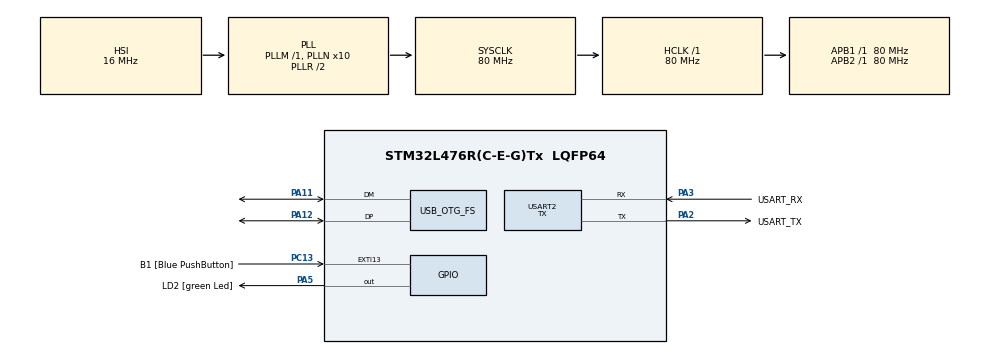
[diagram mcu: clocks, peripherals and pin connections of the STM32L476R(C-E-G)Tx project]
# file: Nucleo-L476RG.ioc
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Mcu.Family=STM32L4
Mcu.Name=STM32L476R(C-E-G)Tx
Mcu.Package=LQFP64
NVIC.OTG_FS_IRQn=true\:0\:0\:false\:false\:true\:false
NVIC.PriorityGroup=NVIC_PRIORITYGROUP_4
PA11.Mode=Device_Only
PA11.Signal=USB_OTG_FS_DM
PA12.Mode=Device_Only
PA12.Signal=USB_OTG_FS_DP
PA13\ (JTMS-SWDIO).GPIO_Label=TMS
PA13\ (JTMS-SWDIO).Mode=Trace_Asynchronous_SW
PA13\ (JTMS-SWDIO).Signal=SYS_JTMS-SWDIO
PA14\ (JTCK-SWCLK).GPIO_Label=TCK
PA14\ (JTCK-SWCLK).Mode=Trace_Asynchronous_SW
PA14\ (JTCK-SWCLK).Signal=SYS_JTCK-SWCLK
PA2.GPIO_Label=USART_TX
PA2.GPIO_Mode=GPIO_MODE_AF_PP
PA2.GPIO_PuPd=GPIO_NOPULL
PA2.GPIO_Speed=GPIO_SPEED_FREQ_VERY_HIGH
PA2.Mode=Asynchronous
PA2.Signal=USART2_TX
PA3.GPIO_Label=USART_RX
PA3.GPIO_Mode=GPIO_MODE_AF_PP
PA3.GPIO_PuPd=GPIO_NOPULL
PA3.GPIO_Speed=GPIO_SPEED_FREQ_VERY_HIGH
PA3.Mode=Asynchronous
PA3.Signal=USART2_RX
PA5.GPIO_Label=LD2 [green Led]
PA5.GPIO_ModeDefaultOutputPP=GPIO_MODE_OUTPUT_PP
PA5.GPIO_PuPd=GPIO_NOPULL
PA5.GPIO_Speed=GPIO_SPEED_FREQ_LOW
PA5.Signal=GPIO_Output
PB3\ (JTDO-TRACESWO).GPIO_Label=SWO
PB3\ (JTDO-TRACESWO).Mode=Trace_Asynchronous_SW
PB3\ (JTDO-TRACESWO).Signal=SYS_JTDO-SWO
PC13.GPIO_Label=B1 [Blue PushButton]
PC13.GPIO_ModeDefaultEXTI=GPIO_MODE_IT_FALLING
PC13.GPIO_PuPd=GPIO_NOPULL
PC13.Signal=GPXTI13
PC14-OSC32_IN\ (PC14).Mode=LSE-External-Oscillator
PC14-OSC32_IN\ (PC14).Signal=RCC_OSC32_IN
PC15-OSC32_OUT\ (PC15).Mode=LSE-External-Oscillator
PC15-OSC32_OUT\ (PC15).Signal=RCC_OSC32_OUT
PH0-OSC_IN\ (PH0).Signal=RCC_OSC_IN
PH1-OSC_OUT\ (PH1).Signal=RCC_OSC_OUT
ProjectManager.HeapSize=0x200
ProjectManager.StackSize=0xf000
ProjectManager.TargetToolchain=TrueSTUDIO
RCC.ADCFreq_Value=64000000
RCC.AHBFreq_Value=80000000
RCC.APB1Freq_Value=80000000
RCC.APB1TimFreq_Value=80000000
RCC.APB2Freq_Value=80000000
RCC.APB2TimFreq_Value=80000000
RCC.CK48CLockSelection=RCC_USBCLKSOURCE_MSI
RCC.CortexFreq_Value=80000000
RCC.HCLKFreq_Value=80000000
RCC.HSE_VALUE=8000000
RCC.HSI_VALUE=16000000
RCC.MSIClockRange=RCC_MSIRANGE_11
RCC.MSI_VALUE=48000000
RCC.PLLN=10
RCC.PLLSourceVirtual=RCC_PLLSOURCE_HSI
RCC.PREFETCH_ENABLE=1
RCC.RTCClockSelection=RCC_RTCCLKSOURCE_LSE
RCC.SYSCLKFreq_VALUE=80000000
RCC.SYSCLKSource=RCC_SYSCLKSOURCE_PLLCLK
RCC.USBFreq_Value=48000000
RCC.VCOOutputFreq_Value=160000000
RTC.Format=RTC_FORMAT_BIN
USART2.Mode=MODE_TX
USART2.VirtualMode-Asynchronous=VM_ASYNC
USART2.WordLength=WORDLENGTH_8B
USB_DEVICE.CLASS_NAME_FS=CDC
USB_DEVICE.VirtualMode=Cdc
USB_DEVICE.VirtualModeFS=Cdc_FS
USB_OTG_FS.VirtualMode=Device_Only
VP_RNG_VS_RNG.Mode=RNG_Activate
VP_RTC_VS_RTC_Activate.Mode=RTC_Enabled
VP_RTC_VS_RTC_Calendar.Mode=RTC_Calendar
VP_USB_DEVICE_VS_USB_DEVICE_CDC_FS.Mode=CDC_FS
board=NUCLEO-L476RG

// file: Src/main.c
/**
  ******************************************************************************
  * @file           : main.c
  * @brief          : Main program body
  ******************************************************************************
  * This notice applies to any and all portions of this file
  * that are not between comment pairs USER CODE BEGIN and
  * USER CODE END. Other portions of this file, whether
  * inserted by the user or by software development tools
  * are owned by their respective copyright owners.
  *
  * Copyright (c) 2018 STMicroelectronics International N.V.
  * All rights reserved.
  *
  * Redistribution and use in source and binary forms, with or without
  * modification, are permitted, provided that the following conditions are met:
  *
  * 1. Redistribution of source code must retain the above copyright notice,
  *    this list of conditions and the following disclaimer.
  * 2. Redistributions in binary form must reproduce the above copyright notice,
  *    this list of conditions and the following disclaimer in the documentation
  *    and/or other materials provided with the distribution.
  * 3. Neither the name of STMicroelectronics nor the names of other
  *    contributors to this software may be used to endorse or promote products
  *    derived from this software without specific written permission.
  * 4. This software, including modifications and/or derivative works of this
  *    software, must execute solely and exclusively on microcontroller or
  *    microprocessor devices manufactured by or for STMicroelectronics.
  * 5. Redistribution and use of this software other than as permitted under
  *    this license is void and will automatically terminate your rights under
  *    this license.
  *
  * THIS SOFTWARE IS PROVIDED BY STMICROELECTRONICS AND CONTRIBUTORS "AS IS"
  * AND ANY EXPRESS, IMPLIED OR STATUTORY WARRANTIES, INCLUDING, BUT NOT
  * LIMITED TO, THE IMPLIED WARRANTIES OF MERCHANTABILITY, FITNESS FOR A
  * PARTICULAR PURPOSE AND NON-INFRINGEMENT OF THIRD PARTY INTELLECTUAL PROPERTY
  * RIGHTS ARE DISCLAIMED TO THE FULLEST EXTENT PERMITTED BY LAW. IN NO EVENT
  * SHALL STMICROELECTRONICS OR CONTRIBUTORS BE LIABLE FOR ANY DIRECT, INDIRECT,
  * INCIDENTAL, SPECIAL, EXEMPLARY, OR CONSEQUENTIAL DAMAGES (INCLUDING, BUT NOT
  * LIMITED TO, PROCUREMENT OF SUBSTITUTE GOODS OR SERVICES; LOSS OF USE, DATA,
  * OR PROFITS; OR BUSINESS INTERRUPTION) HOWEVER CAUSED AND ON ANY THEORY OF
  * LIABILITY, WHETHER IN CONTRACT, STRICT LIABILITY, OR TORT (INCLUDING
  * NEGLIGENCE OR OTHERWISE) ARISING IN ANY WAY OUT OF THE USE OF THIS SOFTWARE,
  * EVEN IF ADVISED OF THE POSSIBILITY OF SUCH DAMAGE.
  *
  ******************************************************************************
  */
#include "main.h"
#include "stm32l4xx_hal.h"
#include "usb_device.h"

/* USER CODE BEGIN Includes */
#include <stdint.h>
#include <stdbool.h>
#include <time.h>
#include "TpmDevice.h"
#include "StmUtil.h"

/* USER CODE END Includes */

RNG_HandleTypeDef hrng;

RTC_HandleTypeDef hrtc;

UART_HandleTypeDef huart2;

/* USER CODE BEGIN PV */
/* Private variables ---------------------------------------------------------*/

/* USER CODE END PV */

void SystemClock_Config(void);
static void MX_GPIO_Init(void);
static void MX_RNG_Init(void);
static void MX_RTC_Init(void);
static void MX_USART2_UART_Init(void);

/* USER CODE BEGIN PFP */
/* Private function prototypes -----------------------------------------------*/

/* USER CODE END PFP */

int main(void)
{

  /* MCU Configuration----------------------------------------------------------*/

  /* Reset of all peripherals, Initializes the Flash interface and the Systick. */
  HAL_Init();

  /* Configure the system clock */
  SystemClock_Config();

  /* Initialize all configured peripherals */
  MX_GPIO_Init();
  MX_RNG_Init();
  MX_RTC_Init();
  MX_USART2_UART_Init();
  MX_USB_DEVICE_Init();
  /* USER CODE BEGIN 2 */
  InitializeITM();
  fprintf(stderr, "\r\n\r\n=========================\r\n"
                          "= Nucleo-L476RG TPM 2.0 =\r\n"
                          "=========================\r\n");
  printf("Nucleo-L476RG TPM 2.0\r\n");

  if(!TpmInitializeDevice())
  {
      _Error_Handler(__FILE__, __LINE__);
  }

  /* USER CODE END 2 */

  /* Infinite loop */
  while (1)
  {

  /* USER CODE BEGIN 3 */
      if(!TpmOperationsLoop())
      {
          _Error_Handler(__FILE__, __LINE__);
      }
  }
  /* USER CODE END 3 */

}

void SystemClock_Config(void)
{

  RCC_OscInitTypeDef RCC_OscInitStruct;
  RCC_ClkInitTypeDef RCC_ClkInitStruct;
  RCC_PeriphCLKInitTypeDef PeriphClkInit;

    /**Configure LSE Drive Capability
    */
  HAL_PWR_EnableBkUpAccess();

  __HAL_RCC_LSEDRIVE_CONFIG(RCC_LSEDRIVE_LOW);

    /**Initializes the CPU, AHB and APB busses clocks
    */
  RCC_OscInitStruct.OscillatorType = RCC_OSCILLATORTYPE_HSI|RCC_OSCILLATORTYPE_LSE
                              |RCC_OSCILLATORTYPE_MSI;
  RCC_OscInitStruct.LSEState = RCC_LSE_ON;
  RCC_OscInitStruct.HSIState = RCC_HSI_ON;
  RCC_OscInitStruct.HSICalibrationValue = 16;
  RCC_OscInitStruct.MSIState = RCC_MSI_ON;
  RCC_OscInitStruct.MSICalibrationValue = 0;
  RCC_OscInitStruct.MSIClockRange = RCC_MSIRANGE_11;
  RCC_OscInitStruct.PLL.PLLState = RCC_PLL_ON;
  RCC_OscInitStruct.PLL.PLLSource = RCC_PLLSOURCE_HSI;
  RCC_OscInitStruct.PLL.PLLM = 1;  // <-- This one gets dropped by V1.11.0 add me manually back in when CubeMX ran
  RCC_OscInitStruct.PLL.PLLN = 10;
  RCC_OscInitStruct.PLL.PLLP = RCC_PLLP_DIV7;
  RCC_OscInitStruct.PLL.PLLQ = RCC_PLLQ_DIV2;
  RCC_OscInitStruct.PLL.PLLR = RCC_PLLR_DIV2;
  if (HAL_RCC_OscConfig(&RCC_OscInitStruct) != HAL_OK)
  {
    _Error_Handler(__FILE__, __LINE__);
  }

    /**Initializes the CPU, AHB and APB busses clocks
    */
  RCC_ClkInitStruct.ClockType = RCC_CLOCKTYPE_HCLK|RCC_CLOCKTYPE_SYSCLK
                              |RCC_CLOCKTYPE_PCLK1|RCC_CLOCKTYPE_PCLK2;
  RCC_ClkInitStruct.SYSCLKSource = RCC_SYSCLKSOURCE_PLLCLK;
  RCC_ClkInitStruct.AHBCLKDivider = RCC_SYSCLK_DIV1;
  RCC_ClkInitStruct.APB1CLKDivider = RCC_HCLK_DIV1;
  RCC_ClkInitStruct.APB2CLKDivider = RCC_HCLK_DIV1;

  if (HAL_RCC_ClockConfig(&RCC_ClkInitStruct, FLASH_LATENCY_4) != HAL_OK)
  {
    _Error_Handler(__FILE__, __LINE__);
  }

  PeriphClkInit.PeriphClockSelection = RCC_PERIPHCLK_RTC|RCC_PERIPHCLK_USART2
                              |RCC_PERIPHCLK_USB|RCC_PERIPHCLK_RNG;
  PeriphClkInit.Usart2ClockSelection = RCC_USART2CLKSOURCE_PCLK1;
  PeriphClkInit.RTCClockSelection = RCC_RTCCLKSOURCE_LSE;
  PeriphClkInit.UsbClockSelection = RCC_USBCLKSOURCE_MSI;
  PeriphClkInit.RngClockSelection = RCC_RNGCLKSOURCE_MSI;
  if (HAL_RCCEx_PeriphCLKConfig(&PeriphClkInit) != HAL_OK)
  {
    _Error_Handler(__FILE__, __LINE__);
  }

    /**Configure the main internal regulator output voltage
    */
  if (HAL_PWREx_ControlVoltageScaling(PWR_REGULATOR_VOLTAGE_SCALE1) != HAL_OK)
  {
    _Error_Handler(__FILE__, __LINE__);
  }

    /**Configure the Systick interrupt time
    */
  HAL_SYSTICK_Config(HAL_RCC_GetHCLKFreq()/1000);

    /**Configure the Systick
    */
  HAL_SYSTICK_CLKSourceConfig(SYSTICK_CLKSOURCE_HCLK);

    /**Enable MSI Auto calibration
    */
  HAL_RCCEx_EnableMSIPLLMode();

  /* SysTick_IRQn interrupt configuration */
  HAL_NVIC_SetPriority(SysTick_IRQn, 0, 0);
}

/* RNG init function */
static void MX_RNG_Init(void)
{

  hrng.Instance = RNG;
  if (HAL_RNG_Init(&hrng) != HAL_OK)
  {
    _Error_Handler(__FILE__, __LINE__);
  }

}

/* RTC init function */
static void MX_RTC_Init(void)
{

  RTC_TimeTypeDef sTime;
  RTC_DateTypeDef sDate;

    /**Initialize RTC Only
    */
  hrtc.Instance = RTC;
if(HAL_RTCEx_BKUPRead(&hrtc, RTC_BKP_DR0) != 0x32F2){
  hrtc.Init.HourFormat = RTC_HOURFORMAT_24;
  hrtc.Init.AsynchPrediv = 127;
  hrtc.Init.SynchPrediv = 255;
  hrtc.Init.OutPut = RTC_OUTPUT_DISABLE;
  hrtc.Init.OutPutRemap = RTC_OUTPUT_REMAP_NONE;
  hrtc.Init.OutPutPolarity = RTC_OUTPUT_POLARITY_HIGH;
  hrtc.Init.OutPutType = RTC_OUTPUT_TYPE_OPENDRAIN;
  if (HAL_RTC_Init(&hrtc) != HAL_OK)
  {
    _Error_Handler(__FILE__, __LINE__);
  }

    /**Initialize RTC and set the Time and Date
    */
  sTime.Hours = 0;
  sTime.Minutes = 0;
  sTime.Seconds = 0;
  sTime.DayLightSaving = RTC_DAYLIGHTSAVING_NONE;
  sTime.StoreOperation = RTC_STOREOPERATION_RESET;
  if (HAL_RTC_SetTime(&hrtc, &sTime, RTC_FORMAT_BIN) != HAL_OK)
  {
    _Error_Handler(__FILE__, __LINE__);
  }

  sDate.WeekDay = RTC_WEEKDAY_MONDAY;
  sDate.Month = RTC_MONTH_JANUARY;
  sDate.Date = 1;
  sDate.Year = 0;

  if (HAL_RTC_SetDate(&hrtc, &sDate, RTC_FORMAT_BIN) != HAL_OK)
  {
    _Error_Handler(__FILE__, __LINE__);
  }

    HAL_RTCEx_BKUPWrite(&hrtc,RTC_BKP_DR0,0x32F2);
  }

}

/* USART2 init function */
static void MX_USART2_UART_Init(void)
{

  huart2.Instance = USART2;
  huart2.Init.BaudRate = 115200;
  huart2.Init.WordLength = UART_WORDLENGTH_8B;
  huart2.Init.StopBits = UART_STOPBITS_1;
  huart2.Init.Parity = UART_PARITY_NONE;
  huart2.Init.Mode = UART_MODE_TX;
  huart2.Init.HwFlowCtl = UART_HWCONTROL_NONE;
  huart2.Init.OverSampling = UART_OVERSAMPLING_16;
  huart2.Init.OneBitSampling = UART_ONE_BIT_SAMPLE_DISABLE;
  huart2.AdvancedInit.AdvFeatureInit = UART_ADVFEATURE_NO_INIT;
  if (HAL_UART_Init(&huart2) != HAL_OK)
  {
    _Error_Handler(__FILE__, __LINE__);
  }

}

/** Configure pins as
        * Analog
        * Input
        * Output
        * EVENT_OUT
        * EXTI
*/
static void MX_GPIO_Init(void)
{

  GPIO_InitTypeDef GPIO_InitStruct;

  /* GPIO Ports Clock Enable */
  __HAL_RCC_GPIOC_CLK_ENABLE();
  __HAL_RCC_GPIOH_CLK_ENABLE();
  __HAL_RCC_GPIOA_CLK_ENABLE();
  __HAL_RCC_GPIOB_CLK_ENABLE();

  /*Configure GPIO pin Output Level */
  HAL_GPIO_WritePin(LD2_GPIO_Port, LD2_Pin, GPIO_PIN_RESET);

  /*Configure GPIO pin : B1_Pin */
  GPIO_InitStruct.Pin = B1_Pin;
  GPIO_InitStruct.Mode = GPIO_MODE_IT_FALLING;
  GPIO_InitStruct.Pull = GPIO_NOPULL;
  HAL_GPIO_Init(B1_GPIO_Port, &GPIO_InitStruct);

  /*Configure GPIO pin : LD2_Pin */
  GPIO_InitStruct.Pin = LD2_Pin;
  GPIO_InitStruct.Mode = GPIO_MODE_OUTPUT_PP;
  GPIO_InitStruct.Pull = GPIO_NOPULL;
  GPIO_InitStruct.Speed = GPIO_SPEED_FREQ_LOW;
  HAL_GPIO_Init(LD2_GPIO_Port, &GPIO_InitStruct);

}

void _Error_Handler(char *file, int line)
{
  /* USER CODE BEGIN Error_Handler_Debug */
    dbgPrint("PANIC: EXECUTION HALTED %s@%d\r\n", file, line);
  /* User can add his own implementation to report the HAL error return state */
  while(1)
  {
  }
  /* USER CODE END Error_Handler_Debug */
}

/************************ (C) COPYRIGHT STMicroelectronics *****END OF FILE****/
